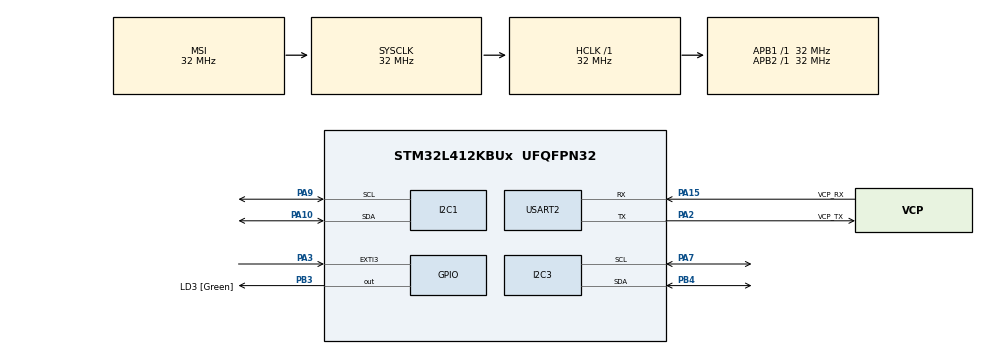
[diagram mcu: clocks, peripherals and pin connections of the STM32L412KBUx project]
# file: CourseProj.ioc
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I2C1.Timing=0x00B07CB4
I2C3.Timing=0x00B07CB4
Mcu.Family=STM32L4
Mcu.Name=STM32L412KBUx
Mcu.Package=UFQFPN32
NVIC.EXTI3_IRQn=true\:0\:0\:false\:false\:true\:true\:true\:true
NVIC.PriorityGroup=NVIC_PRIORITYGROUP_4
PA0-CK_IN.Mode=HSE-External-Clock-Source-for-LittleOrca
PA0-CK_IN.Signal=RCC_CK_IN
PA10.Mode=I2C
PA10.Signal=I2C1_SDA
PA13\ (JTMS/SWDIO).GPIO_Label=SWDIO
PA13\ (JTMS/SWDIO).Mode=Serial_Wire
PA13\ (JTMS/SWDIO).Signal=SYS_JTMS-SWDIO
PA14\ (JTCK/SWCLK).GPIO_Label=SWCLK
PA14\ (JTCK/SWCLK).Mode=Serial_Wire
PA14\ (JTCK/SWCLK).Signal=SYS_JTCK-SWCLK
PA15\ (JTDI).GPIO_Label=VCP_RX
PA15\ (JTDI).Mode=Asynchronous
PA15\ (JTDI).Signal=USART2_RX
PA2.GPIO_Label=VCP_TX
PA2.Mode=Asynchronous
PA2.Signal=USART2_TX
PA3.GPIO_ModeDefaultEXTI=GPIO_MODE_IT_RISING_FALLING
PA3.GPIO_PuPd=GPIO_PULLUP
PA3.Signal=GPXTI3
PA7.Mode=I2C
PA7.Signal=I2C3_SCL
PA9.Mode=I2C
PA9.Signal=I2C1_SCL
PB3\ (JTDO/TRACESWO).GPIO_Label=LD3 [Green]
PB3\ (JTDO/TRACESWO).Signal=GPIO_Output
PB4\ (NJTRST).Mode=I2C
PB4\ (NJTRST).Signal=I2C3_SDA
PC14-OSC32_IN\ (PC14).Mode=LSE-External-Oscillator
PC14-OSC32_IN\ (PC14).Signal=RCC_OSC32_IN
PC15-OSC32_OUT\ (PC15).Mode=LSE-External-Oscillator
PC15-OSC32_OUT\ (PC15).Signal=RCC_OSC32_OUT
ProjectManager.HeapSize=0x200
ProjectManager.StackSize=0x400
ProjectManager.TargetToolchain=STM32CubeIDE
RCC.ADCFreq_Value=32000000
RCC.AHBFreq_Value=32000000
RCC.APB1Freq_Value=32000000
RCC.APB1TimFreq_Value=32000000
RCC.APB2Freq_Value=32000000
RCC.APB2TimFreq_Value=32000000
RCC.CortexFreq_Value=32000000
RCC.FLatency=FLASH_LATENCY_1
RCC.HCLKFreq_Value=32000000
RCC.HSE_VALUE=8000000
RCC.HSI48_VALUE=48000000
RCC.HSICalibrationValue=64
RCC.HSI_VALUE=16000000
RCC.LSE_Drive_Capability=RCC_LSEDRIVE_LOW
RCC.MSIClockRange=RCC_MSIRANGE_10
RCC.MSI_VALUE=32000000
RCC.SYSCLKFreq_VALUE=32000000
RCC.USBFreq_Value=32000000
RCC.VCOOutputFreq_Value=256000000
USART2.VirtualMode-Asynchronous=VM_ASYNC
board=NUCLEO-L412KB

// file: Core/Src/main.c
/* USER CODE BEGIN Header */
/**
 ******************************************************************************
 * @file           : main.c
 * @brief          : Main program body
 ******************************************************************************
 * @attention
 *
 * Copyright (c) 2024 STMicroelectronics.
 * All rights reserved.
 *
 * This software is licensed under terms that can be found in the LICENSE file
 * in the root directory of this software component.
 * If no LICENSE file comes with this software, it is provided AS-IS.
 *
 ******************************************************************************
 */
/* USER CODE END Header */
#include "main.h"

/* USER CODE BEGIN Includes */
#include "lcd1602_i2c.h"
#include "myTypes.h"
#include "Ptimer.h"
/* USER CODE END Includes */

/* USER CODE BEGIN PD */
#define DS1621_ADDR 0x48 << 1
#define BOUNCE_TIME 30
#define ANTIBOUNCE_TIMER 3
#define WAITER_TIMEOUT 5000
#define WAITER_TIMER 6
#define TEMP_TIMEOUT 2000
#define TEMP_TIMER 5
#define LCD_TIMEOUT 1000
#define LCD_TIMER 4
#define TEMPERATURE_HISTORY_SIZE 720
/* USER CODE END PD */

I2C_HandleTypeDef hi2c1;
I2C_HandleTypeDef hi2c3;

UART_HandleTypeDef huart2;

/* USER CODE BEGIN PV */
lcd1602_HandleTypeDef lcd1602_Handle;
volatile globalFlags_t gflag = {0};
/* USER CODE END PV */

void SystemClock_Config(void);
static void MX_GPIO_Init(void);
static void MX_USART2_UART_Init(void);
static void MX_I2C1_Init(void);
static void MX_I2C3_Init(void);

int main(void)
{

	/* USER CODE BEGIN 1 */
	buttonStates_t button_state = notpressed;
	buttonAntibounceStates_t button_antibounce_state = wait;
	buttonPinState_t button_pin = {GPIO_PIN_RESET, GPIO_PIN_RESET};
	buttonFlags_t button_flag = {0, 0};
	buttonAntibounceFlags_t  button_antibounce_flag = {0, 0};
	/* USER CODE END 1 */

	/* MCU Configuration--------------------------------------------------------*/

	/* Reset of all peripherals, Initializes the Flash interface and the Systick. */
	HAL_Init();

	/* USER CODE BEGIN Init */
	int temperatureHistory[TEMPERATURE_HISTORY_SIZE];
	int historyIndex = 0;
	int mode = 0;
	/* USER CODE END Init */

	/* Configure the system clock */
	SystemClock_Config();

	/* Initialize all configured peripherals */
	MX_GPIO_Init();
	MX_USART2_UART_Init();
	MX_I2C1_Init();
	MX_I2C3_Init();
	/* USER CODE BEGIN 2 */
	DS1621_Init();
	lcd1602_Init(&lcd1602_Handle, &hi2c1, PCF8574_ADDRESS);
	int temperature = DS1621_ReadTemp();
	int currentTemp;
	int maxTemp = temperature;
	int minTemp = temperature;
	for (int i = 0; i < TEMPERATURE_HISTORY_SIZE; i++) {
		temperatureHistory[i] = temperature;
	}
	InitPTimer();
	SetPTimer(TEMP_TIMER, TEMP_TIMEOUT);
	SetPTimer(LCD_TIMER, LCD_TIMEOUT);
	SetPTimer(WAITER_TIMER, WAITER_TIMEOUT);
	/* USER CODE END 2 */

	/* Infinite loop */
	while (1)
	{

		/* USER CODE BEGIN 3 */
		if ((ptimerFlag.timer) & (1 << TEMP_TIMER)){
			ptimerFlag.timer &= ~(1 << TEMP_TIMER);
			KillPTimer (TEMP_TIMER);

			temperature = DS1621_ReadTemp();

			SetPTimer(TEMP_TIMER, TEMP_TIMEOUT);
		}

		if ((ptimerFlag.timer) & (1 << WAITER_TIMER)){
			ptimerFlag.timer &= ~(1 << WAITER_TIMER);
			KillPTimer (WAITER_TIMER);

			temperatureHistory[historyIndex] = temperature;
			historyIndex = (historyIndex + 1) % TEMPERATURE_HISTORY_SIZE;

			maxTemp = temperature;
			minTemp = temperature;

			for (int i = 0; i < TEMPERATURE_HISTORY_SIZE; i++) {
				if (temperatureHistory[i] > maxTemp) {
					maxTemp = temperatureHistory[i];
				}
				if (temperatureHistory[i] < minTemp) {
					minTemp = temperatureHistory[i];
				}
			}
			SetPTimer(WAITER_TIMER, WAITER_TIMEOUT);
		}

		/* Button state machine*/
		switch (button_antibounce_state)
		{
		case wait:
		{
			if (gflag.button_action)
			{
				button_antibounce_state = antibounce;
				button_pin.previous_state = HAL_GPIO_ReadPin (GPIOA, GPIO_PIN_3);
				SetPTimer (ANTIBOUNCE_TIMER, BOUNCE_TIME);
				gflag.button_action = 0;
			}
			break;
		}
		case antibounce:
		{
			if ((ptimerFlag.timer) & (1 << ANTIBOUNCE_TIMER))
			{
				button_pin.current_state = HAL_GPIO_ReadPin (GPIOA, GPIO_PIN_3);
				gflag.button_action = 0;
				if (button_pin.current_state == button_pin.previous_state)
				{
					if (button_pin.current_state == GPIO_PIN_SET)
						button_antibounce_flag.falling_edge = 1;
					else
						button_antibounce_flag.rising_edge = 1;

					ptimerFlag.timer &= ~(1 << ANTIBOUNCE_TIMER);
					button_antibounce_state = wait;
				}
				else
				{
					button_pin.previous_state = button_pin.current_state;
					SetPTimer (ANTIBOUNCE_TIMER, BOUNCE_TIME);
				}
			}
			break;
		}
		default:
			break;
		}

		/* Button state machine*/
		switch (button_state)
		{
		case notpressed:
		{
			if (button_antibounce_flag.rising_edge)
			{
				button_state = pressed;
				button_flag.pressed = 1;
				button_antibounce_flag.rising_edge = 0;
			}
			else if (button_antibounce_flag.falling_edge)
			{
				button_antibounce_flag.falling_edge = 0;
			}
			break;
		}
		case pressed:
		{
			if (button_antibounce_flag.falling_edge)
			{
				button_state = notpressed;
				button_flag.released = 1;
				button_antibounce_flag.falling_edge = 0;
			}
			else if (button_antibounce_flag.rising_edge)
			{
				button_antibounce_flag.rising_edge = 0;
			}
			break;
		}
		default:
			break;
		}

		if (button_flag.pressed)
		{
			mode = (mode + 1) % 3;
			button_flag.pressed = 0;
		}

		if ((ptimerFlag.timer) & (1 << LCD_TIMER)){
			ptimerFlag.timer &= ~(1 << LCD_TIMER);
			KillPTimer (LCD_TIMER);
			lcd1602_Clear(&lcd1602_Handle);
			switch (mode)
			{
			case 0:
			{
				currentTemp = temperature;
				lcd1602_Print(&lcd1602_Handle, "Current");
				SendTemperature(currentTemp);
				break;
			}
			case 1:
			{
				lcd1602_Print(&lcd1602_Handle, "Max");
				SendTemperature(maxTemp);
				break;
			}
			case 2:
			{
				lcd1602_Print(&lcd1602_Handle, "Min");
				SendTemperature(minTemp);
				break;
			}
			default:
				break;
			}
			SetPTimer(LCD_TIMER, LCD_TIMEOUT);
		}
	}
	/* USER CODE END 3 */
}

void SystemClock_Config(void)
{
	RCC_OscInitTypeDef RCC_OscInitStruct = {0};
	RCC_ClkInitTypeDef RCC_ClkInitStruct = {0};

	/** Configure the main internal regulator output voltage
	 */
	if (HAL_PWREx_ControlVoltageScaling(PWR_REGULATOR_VOLTAGE_SCALE1) != HAL_OK)
	{
		Error_Handler();
	}

	/** Configure LSE Drive Capability
	 */
	HAL_PWR_EnableBkUpAccess();
	__HAL_RCC_LSEDRIVE_CONFIG(RCC_LSEDRIVE_LOW);

	/** Initializes the RCC Oscillators according to the specified parameters
	 * in the RCC_OscInitTypeDef structure.
	 */
	RCC_OscInitStruct.OscillatorType = RCC_OSCILLATORTYPE_LSE|RCC_OSCILLATORTYPE_MSI;
	RCC_OscInitStruct.LSEState = RCC_LSE_ON;
	RCC_OscInitStruct.MSIState = RCC_MSI_ON;
	RCC_OscInitStruct.MSICalibrationValue = 0;
	RCC_OscInitStruct.MSIClockRange = RCC_MSIRANGE_10;
	RCC_OscInitStruct.PLL.PLLState = RCC_PLL_NONE;
	if (HAL_RCC_OscConfig(&RCC_OscInitStruct) != HAL_OK)
	{
		Error_Handler();
	}

	/** Initializes the CPU, AHB and APB buses clocks
	 */
	RCC_ClkInitStruct.ClockType = RCC_CLOCKTYPE_HCLK|RCC_CLOCKTYPE_SYSCLK
			|RCC_CLOCKTYPE_PCLK1|RCC_CLOCKTYPE_PCLK2;
	RCC_ClkInitStruct.SYSCLKSource = RCC_SYSCLKSOURCE_MSI;
	RCC_ClkInitStruct.AHBCLKDivider = RCC_SYSCLK_DIV1;
	RCC_ClkInitStruct.APB1CLKDivider = RCC_HCLK_DIV1;
	RCC_ClkInitStruct.APB2CLKDivider = RCC_HCLK_DIV1;

	if (HAL_RCC_ClockConfig(&RCC_ClkInitStruct, FLASH_LATENCY_1) != HAL_OK)
	{
		Error_Handler();
	}

	/** Enable MSI Auto calibration
	 */
	HAL_RCCEx_EnableMSIPLLMode();
}

static void MX_I2C1_Init(void)
{

	hi2c1.Instance = I2C1;
	hi2c1.Init.Timing = 0x00B07CB4;
	hi2c1.Init.OwnAddress1 = 0;
	hi2c1.Init.AddressingMode = I2C_ADDRESSINGMODE_7BIT;
	hi2c1.Init.DualAddressMode = I2C_DUALADDRESS_DISABLE;
	hi2c1.Init.OwnAddress2 = 0;
	hi2c1.Init.OwnAddress2Masks = I2C_OA2_NOMASK;
	hi2c1.Init.GeneralCallMode = I2C_GENERALCALL_DISABLE;
	hi2c1.Init.NoStretchMode = I2C_NOSTRETCH_DISABLE;
	if (HAL_I2C_Init(&hi2c1) != HAL_OK)
	{
		Error_Handler();
	}

	/** Configure Analogue filter
	 */
	if (HAL_I2CEx_ConfigAnalogFilter(&hi2c1, I2C_ANALOGFILTER_ENABLE) != HAL_OK)
	{
		Error_Handler();
	}

	/** Configure Digital filter
	 */
	if (HAL_I2CEx_ConfigDigitalFilter(&hi2c1, 0) != HAL_OK)
	{
		Error_Handler();
	}

}

static void MX_I2C3_Init(void)
{

	hi2c3.Instance = I2C3;
	hi2c3.Init.Timing = 0x00B07CB4;
	hi2c3.Init.OwnAddress1 = 0;
	hi2c3.Init.AddressingMode = I2C_ADDRESSINGMODE_7BIT;
	hi2c3.Init.DualAddressMode = I2C_DUALADDRESS_DISABLE;
	hi2c3.Init.OwnAddress2 = 0;
	hi2c3.Init.OwnAddress2Masks = I2C_OA2_NOMASK;
	hi2c3.Init.GeneralCallMode = I2C_GENERALCALL_DISABLE;
	hi2c3.Init.NoStretchMode = I2C_NOSTRETCH_DISABLE;
	if (HAL_I2C_Init(&hi2c3) != HAL_OK)
	{
		Error_Handler();
	}

	/** Configure Analogue filter
	 */
	if (HAL_I2CEx_ConfigAnalogFilter(&hi2c3, I2C_ANALOGFILTER_ENABLE) != HAL_OK)
	{
		Error_Handler();
	}

	/** Configure Digital filter
	 */
	if (HAL_I2CEx_ConfigDigitalFilter(&hi2c3, 0) != HAL_OK)
	{
		Error_Handler();
	}

}

static void MX_USART2_UART_Init(void)
{

	huart2.Instance = USART2;
	huart2.Init.BaudRate = 115200;
	huart2.Init.WordLength = UART_WORDLENGTH_8B;
	huart2.Init.StopBits = UART_STOPBITS_1;
	huart2.Init.Parity = UART_PARITY_NONE;
	huart2.Init.Mode = UART_MODE_TX_RX;
	huart2.Init.HwFlowCtl = UART_HWCONTROL_NONE;
	huart2.Init.OverSampling = UART_OVERSAMPLING_16;
	huart2.Init.OneBitSampling = UART_ONE_BIT_SAMPLE_DISABLE;
	huart2.AdvancedInit.AdvFeatureInit = UART_ADVFEATURE_NO_INIT;
	if (HAL_UART_Init(&huart2) != HAL_OK)
	{
		Error_Handler();
	}

}

static void MX_GPIO_Init(void)
{
	GPIO_InitTypeDef GPIO_InitStruct = {0};

	/* GPIO Ports Clock Enable */
	__HAL_RCC_GPIOC_CLK_ENABLE();
	__HAL_RCC_GPIOA_CLK_ENABLE();
	__HAL_RCC_GPIOB_CLK_ENABLE();

	/*Configure GPIO pin Output Level */
	HAL_GPIO_WritePin(LD3_GPIO_Port, LD3_Pin, GPIO_PIN_RESET);

	/*Configure GPIO pin : PA3 */
	GPIO_InitStruct.Pin = GPIO_PIN_3;
	GPIO_InitStruct.Mode = GPIO_MODE_IT_RISING_FALLING;
	GPIO_InitStruct.Pull = GPIO_PULLUP;
	HAL_GPIO_Init(GPIOA, &GPIO_InitStruct);

	/*Configure GPIO pin : LD3_Pin */
	GPIO_InitStruct.Pin = LD3_Pin;
	GPIO_InitStruct.Mode = GPIO_MODE_OUTPUT_PP;
	GPIO_InitStruct.Pull = GPIO_NOPULL;
	GPIO_InitStruct.Speed = GPIO_SPEED_FREQ_LOW;
	HAL_GPIO_Init(LD3_GPIO_Port, &GPIO_InitStruct);

	/* EXTI interrupt init*/
	HAL_NVIC_SetPriority(EXTI3_IRQn, 0, 0);
	HAL_NVIC_EnableIRQ(EXTI3_IRQn);

}

/* USER CODE BEGIN 4 */
void DS1621_Init() {
	uint8_t cmd = 0xEE;

	HAL_I2C_Master_Transmit(&hi2c3, DS1621_ADDR, &cmd, 1, 10000);

	return;
}
int DS1621_ReadTemp() {
	uint8_t cmd = 0xAA;
	uint8_t temp;

	HAL_I2C_Master_Transmit(&hi2c3, DS1621_ADDR, &cmd, 1, HAL_MAX_DELAY);

	HAL_I2C_Master_Receive(&hi2c3, DS1621_ADDR, &temp, 1, HAL_MAX_DELAY);

	return temp;
}
void SendTemperature(int temp) {
	char lcdBuffer[16];

	sprintf(lcdBuffer, "Temp: %d C", temp);
	lcd1602_SetCursor(&lcd1602_Handle, 0, 1);
	lcd1602_Print(&lcd1602_Handle, lcdBuffer);
}
inline void HAL_SYSTICK_Callback(void)
{
  PTimer();
}

inline void HAL_GPIO_EXTI_Callback(uint16_t GPIO_Pin)
{
 /* Prevent unused argument(s) compilation warning */
 UNUSED(GPIO_Pin);
 /* Set button pressed flag and disable EXTI0 IRQ */
 gflag.button_action = 1;

}
/* USER CODE END 4 */

void Error_Handler(void)
{
	__disable_irq();
	while (1)
	{
	}
}
